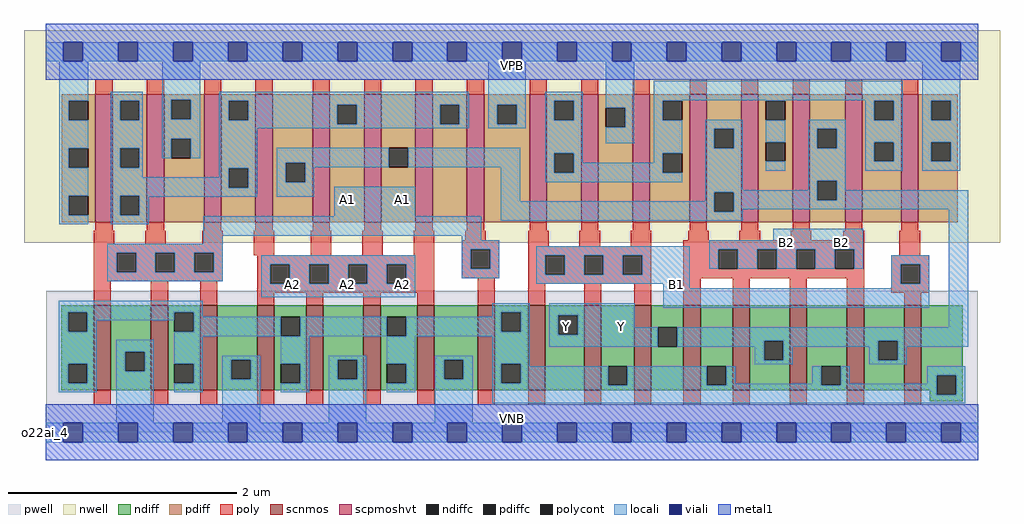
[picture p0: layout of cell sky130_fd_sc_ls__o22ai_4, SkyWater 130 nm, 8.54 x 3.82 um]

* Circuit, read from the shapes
.subckt sky130_fd_sc_ls__o22ai_4 A1 A2 B1 B2 VGND VNB VPB VPWR Y
XM1 VGND A1 n1 VNB sky130_fd_pr__nfet_01v8 w=0.74 l=0.15 m=4
XM2 n1 A2 VGND VNB sky130_fd_pr__nfet_01v8 w=0.74 l=0.15 m=4
XM3 Y B1 n1 VNB sky130_fd_pr__nfet_01v8 w=0.74 l=0.15 m=4
XM4 n1 B2 Y VNB sky130_fd_pr__nfet_01v8 w=0.74 l=0.15 m=4
XM5 n2 A1 VPWR VPB sky130_fd_pr__pfet_01v8_hvt w=1.12 l=0.15 m=4
XM6 Y A2 n2 VPB sky130_fd_pr__pfet_01v8_hvt w=1.12 l=0.15 m=4
XM7 n3 B1 VPWR VPB sky130_fd_pr__pfet_01v8_hvt w=1.12 l=0.15 m=4
XM8 Y B2 n3 VPB sky130_fd_pr__pfet_01v8_hvt w=1.12 l=0.15 m=4
.ends

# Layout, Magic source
magic
tech sky130A
magscale 1 2
<< nwell >>
rect -38 332 1670 704
<< pwell >>
rect 1 49 1631 248
rect 0 0 1632 49
<< scnmos >>
rect 84 74 114 222
rect 184 74 214 222
rect 270 74 300 222
rect 370 74 400 222
rect 456 74 486 222
rect 556 74 586 222
rect 650 74 680 222
rect 756 74 786 222
rect 844 74 874 222
rect 942 74 972 222
rect 1030 74 1060 222
rect 1116 74 1146 222
rect 1202 74 1232 222
rect 1302 74 1332 222
rect 1402 74 1432 222
rect 1502 74 1532 222
<< scpmoshvt >>
rect 87 368 117 592
rect 177 368 207 592
rect 277 368 307 592
rect 367 368 397 592
rect 467 368 497 592
rect 557 368 587 592
rect 647 368 677 592
rect 737 368 767 592
rect 847 368 877 592
rect 937 368 967 592
rect 1027 368 1057 592
rect 1127 368 1157 592
rect 1217 368 1247 592
rect 1307 368 1337 592
rect 1399 368 1429 592
rect 1497 368 1527 592
<< ndiff >>
rect 27 210 84 222
rect 27 176 39 210
rect 73 176 84 210
rect 27 120 84 176
rect 27 86 39 120
rect 73 86 84 120
rect 27 74 84 86
rect 114 141 184 222
rect 114 107 139 141
rect 173 107 184 141
rect 114 74 184 107
rect 214 210 270 222
rect 214 176 225 210
rect 259 176 270 210
rect 214 120 270 176
rect 214 86 225 120
rect 259 86 270 120
rect 214 74 270 86
rect 300 127 370 222
rect 300 93 325 127
rect 359 93 370 127
rect 300 74 370 93
rect 400 202 456 222
rect 400 168 411 202
rect 445 168 456 202
rect 400 120 456 168
rect 400 86 411 120
rect 445 86 456 120
rect 400 74 456 86
rect 486 127 556 222
rect 486 93 511 127
rect 545 93 556 127
rect 486 74 556 93
rect 586 202 650 222
rect 586 168 597 202
rect 631 168 650 202
rect 586 120 650 168
rect 586 86 597 120
rect 631 86 650 120
rect 586 74 650 86
rect 680 127 756 222
rect 680 93 697 127
rect 731 93 756 127
rect 680 74 756 93
rect 786 210 844 222
rect 786 176 797 210
rect 831 176 844 210
rect 786 120 844 176
rect 786 86 797 120
rect 831 86 844 120
rect 786 74 844 86
rect 874 205 942 222
rect 874 171 897 205
rect 931 171 942 205
rect 874 74 942 171
rect 972 116 1030 222
rect 972 82 984 116
rect 1018 82 1030 116
rect 972 74 1030 82
rect 1060 184 1116 222
rect 1060 150 1071 184
rect 1105 150 1116 184
rect 1060 74 1116 150
rect 1146 116 1202 222
rect 1146 82 1157 116
rect 1191 82 1202 116
rect 1146 74 1202 82
rect 1232 160 1302 222
rect 1232 126 1257 160
rect 1291 126 1302 160
rect 1232 74 1302 126
rect 1332 116 1402 222
rect 1332 82 1357 116
rect 1391 82 1402 116
rect 1332 74 1402 82
rect 1432 160 1502 222
rect 1432 126 1457 160
rect 1491 126 1502 160
rect 1432 74 1502 126
rect 1532 100 1605 222
rect 1532 74 1559 100
rect 1547 66 1559 74
rect 1593 66 1605 100
rect 1547 54 1605 66
<< pdiff >>
rect 28 580 87 592
rect 28 546 40 580
rect 74 546 87 580
rect 28 497 87 546
rect 28 463 40 497
rect 74 463 87 497
rect 28 414 87 463
rect 28 380 40 414
rect 74 380 87 414
rect 28 368 87 380
rect 117 580 177 592
rect 117 546 130 580
rect 164 546 177 580
rect 117 497 177 546
rect 117 463 130 497
rect 164 463 177 497
rect 117 414 177 463
rect 117 380 130 414
rect 164 380 177 414
rect 117 368 177 380
rect 207 582 277 592
rect 207 548 220 582
rect 254 548 277 582
rect 207 514 277 548
rect 207 480 220 514
rect 254 480 277 514
rect 207 368 277 480
rect 307 580 367 592
rect 307 546 320 580
rect 354 546 367 580
rect 307 462 367 546
rect 307 428 320 462
rect 354 428 367 462
rect 307 368 367 428
rect 397 472 467 592
rect 397 438 420 472
rect 454 438 467 472
rect 397 368 467 438
rect 497 573 557 592
rect 497 539 510 573
rect 544 539 557 573
rect 497 368 557 539
rect 587 498 647 592
rect 587 464 600 498
rect 634 464 647 498
rect 587 368 647 464
rect 677 573 737 592
rect 677 539 690 573
rect 724 539 737 573
rect 677 368 737 539
rect 767 573 847 592
rect 767 539 790 573
rect 824 539 847 573
rect 767 368 847 539
rect 877 580 937 592
rect 877 546 890 580
rect 924 546 937 580
rect 877 488 937 546
rect 877 454 890 488
rect 924 454 937 488
rect 877 368 937 454
rect 967 568 1027 592
rect 967 534 980 568
rect 1014 534 1027 568
rect 967 368 1027 534
rect 1057 580 1127 592
rect 1057 546 1080 580
rect 1114 546 1127 580
rect 1057 488 1127 546
rect 1057 454 1080 488
rect 1114 454 1127 488
rect 1057 368 1127 454
rect 1157 531 1217 592
rect 1157 497 1170 531
rect 1204 497 1217 531
rect 1157 420 1217 497
rect 1157 386 1170 420
rect 1204 386 1217 420
rect 1157 368 1217 386
rect 1247 580 1307 592
rect 1247 546 1260 580
rect 1294 546 1307 580
rect 1247 508 1307 546
rect 1247 474 1260 508
rect 1294 474 1307 508
rect 1247 368 1307 474
rect 1337 531 1399 592
rect 1337 497 1350 531
rect 1384 497 1399 531
rect 1337 440 1399 497
rect 1337 406 1350 440
rect 1384 406 1399 440
rect 1337 368 1399 406
rect 1429 580 1497 592
rect 1429 546 1450 580
rect 1484 546 1497 580
rect 1429 508 1497 546
rect 1429 474 1450 508
rect 1484 474 1497 508
rect 1429 368 1497 474
rect 1527 580 1596 592
rect 1527 546 1550 580
rect 1584 546 1596 580
rect 1527 508 1596 546
rect 1527 474 1550 508
rect 1584 474 1596 508
rect 1527 368 1596 474
<< ndiffc >>
rect 39 176 73 210
rect 39 86 73 120
rect 139 107 173 141
rect 225 176 259 210
rect 225 86 259 120
rect 325 93 359 127
rect 411 168 445 202
rect 411 86 445 120
rect 511 93 545 127
rect 597 168 631 202
rect 597 86 631 120
rect 697 93 731 127
rect 797 176 831 210
rect 797 86 831 120
rect 897 171 931 205
rect 984 82 1018 116
rect 1071 150 1105 184
rect 1157 82 1191 116
rect 1257 126 1291 160
rect 1357 82 1391 116
rect 1457 126 1491 160
rect 1559 66 1593 100
<< pdiffc >>
rect 40 546 74 580
rect 40 463 74 497
rect 40 380 74 414
rect 130 546 164 580
rect 130 463 164 497
rect 130 380 164 414
rect 220 548 254 582
rect 220 480 254 514
rect 320 546 354 580
rect 320 428 354 462
rect 420 438 454 472
rect 510 539 544 573
rect 600 464 634 498
rect 690 539 724 573
rect 790 539 824 573
rect 890 546 924 580
rect 890 454 924 488
rect 980 534 1014 568
rect 1080 546 1114 580
rect 1080 454 1114 488
rect 1170 497 1204 531
rect 1170 386 1204 420
rect 1260 546 1294 580
rect 1260 474 1294 508
rect 1350 497 1384 531
rect 1350 406 1384 440
rect 1450 546 1484 580
rect 1450 474 1484 508
rect 1550 546 1584 580
rect 1550 474 1584 508
<< poly >>
rect 87 592 117 618
rect 177 592 207 618
rect 277 592 307 618
rect 367 592 397 618
rect 467 592 497 618
rect 557 592 587 618
rect 647 592 677 618
rect 737 592 767 618
rect 847 592 877 618
rect 937 592 967 618
rect 1027 592 1057 618
rect 1127 592 1157 618
rect 1217 592 1247 618
rect 1307 592 1337 618
rect 1399 592 1429 618
rect 1497 592 1527 618
rect 87 353 117 368
rect 177 353 207 368
rect 277 353 307 368
rect 367 353 397 368
rect 467 353 497 368
rect 557 353 587 368
rect 647 353 677 368
rect 737 353 767 368
rect 847 353 877 368
rect 937 353 967 368
rect 1027 353 1057 368
rect 1127 353 1157 368
rect 1217 353 1247 368
rect 1307 353 1337 368
rect 1399 353 1429 368
rect 1497 353 1527 368
rect 84 330 120 353
rect 174 330 210 353
rect 274 330 310 353
rect 84 314 310 330
rect 84 280 124 314
rect 158 280 192 314
rect 226 280 260 314
rect 294 280 310 314
rect 364 310 400 353
rect 464 310 500 353
rect 554 310 590 353
rect 644 310 680 353
rect 734 336 770 353
rect 84 264 310 280
rect 370 294 680 310
rect 84 222 114 264
rect 184 222 214 264
rect 270 222 300 264
rect 370 260 393 294
rect 427 260 461 294
rect 495 260 529 294
rect 563 260 597 294
rect 631 260 680 294
rect 728 320 794 336
rect 728 286 744 320
rect 778 286 794 320
rect 728 270 794 286
rect 844 326 880 353
rect 934 326 970 353
rect 1024 326 1060 353
rect 1124 336 1160 353
rect 1214 336 1250 353
rect 1304 336 1340 353
rect 1396 336 1432 353
rect 844 310 1060 326
rect 844 276 874 310
rect 908 276 942 310
rect 976 276 1010 310
rect 1044 276 1060 310
rect 370 244 680 260
rect 370 222 400 244
rect 456 222 486 244
rect 556 222 586 244
rect 650 222 680 244
rect 756 222 786 270
rect 844 260 1060 276
rect 844 222 874 260
rect 942 222 972 260
rect 1030 222 1060 260
rect 1116 320 1432 336
rect 1116 286 1177 320
rect 1211 286 1245 320
rect 1279 286 1313 320
rect 1347 286 1381 320
rect 1415 286 1432 320
rect 1494 310 1530 353
rect 1116 270 1432 286
rect 1116 222 1146 270
rect 1202 222 1232 270
rect 1302 222 1332 270
rect 1402 222 1432 270
rect 1480 294 1546 310
rect 1480 260 1496 294
rect 1530 260 1546 294
rect 1480 244 1546 260
rect 1502 222 1532 244
rect 84 48 114 74
rect 184 48 214 74
rect 270 48 300 74
rect 370 48 400 74
rect 456 48 486 74
rect 556 48 586 74
rect 650 48 680 74
rect 756 48 786 74
rect 844 48 874 74
rect 942 48 972 74
rect 1030 48 1060 74
rect 1116 48 1146 74
rect 1202 48 1232 74
rect 1302 48 1332 74
rect 1402 48 1432 74
rect 1502 48 1532 74
<< polycont >>
rect 124 280 158 314
rect 192 280 226 314
rect 260 280 294 314
rect 393 260 427 294
rect 461 260 495 294
rect 529 260 563 294
rect 597 260 631 294
rect 744 286 778 320
rect 874 276 908 310
rect 942 276 976 310
rect 1010 276 1044 310
rect 1177 286 1211 320
rect 1245 286 1279 320
rect 1313 286 1347 320
rect 1381 286 1415 320
rect 1496 260 1530 294
<< locali >>
rect 0 649 31 683
rect 65 649 127 683
rect 161 649 223 683
rect 257 649 319 683
rect 353 649 415 683
rect 449 649 511 683
rect 545 649 607 683
rect 641 649 703 683
rect 737 649 799 683
rect 833 649 895 683
rect 929 649 991 683
rect 1025 649 1087 683
rect 1121 649 1183 683
rect 1217 649 1279 683
rect 1313 649 1375 683
rect 1409 649 1471 683
rect 1505 649 1567 683
rect 1601 649 1632 683
rect 24 580 74 649
rect 24 546 40 580
rect 24 497 74 546
rect 24 463 40 497
rect 24 414 74 463
rect 24 380 40 414
rect 24 364 74 380
rect 114 580 170 596
rect 114 546 130 580
rect 164 546 170 580
rect 114 497 170 546
rect 114 463 130 497
rect 164 463 170 497
rect 204 582 270 649
rect 204 548 220 582
rect 254 548 270 582
rect 204 514 270 548
rect 204 480 220 514
rect 254 480 270 514
rect 304 580 740 596
rect 304 546 320 580
rect 354 573 740 580
rect 354 546 510 573
rect 304 539 510 546
rect 544 539 690 573
rect 724 539 740 573
rect 304 532 740 539
rect 774 573 840 649
rect 774 539 790 573
rect 824 539 840 573
rect 774 532 840 539
rect 874 580 940 596
rect 874 546 890 580
rect 924 546 940 580
rect 114 446 170 463
rect 304 462 370 532
rect 304 446 320 462
rect 114 428 320 446
rect 354 428 370 462
rect 114 414 370 428
rect 114 380 130 414
rect 164 412 370 414
rect 404 472 600 498
rect 404 438 420 472
rect 454 464 600 472
rect 634 464 830 498
rect 454 438 470 464
rect 404 412 470 438
rect 164 380 180 412
rect 114 364 180 380
rect 505 378 647 430
rect 796 404 830 464
rect 874 488 940 546
rect 980 568 1030 649
rect 1014 534 1030 568
rect 980 506 1030 534
rect 1064 581 1500 615
rect 1064 580 1114 581
rect 1064 546 1080 580
rect 1260 580 1294 581
rect 874 454 890 488
rect 924 472 940 488
rect 1064 488 1114 546
rect 1064 472 1080 488
rect 924 454 1080 472
rect 874 438 1114 454
rect 1154 531 1220 547
rect 1154 497 1170 531
rect 1204 497 1220 531
rect 1154 424 1220 497
rect 1434 580 1500 581
rect 1260 508 1294 546
rect 1260 458 1294 474
rect 1334 531 1400 547
rect 1334 497 1350 531
rect 1384 497 1400 531
rect 1334 440 1400 497
rect 1434 546 1450 580
rect 1484 546 1500 580
rect 1434 508 1500 546
rect 1434 474 1450 508
rect 1484 474 1500 508
rect 1434 458 1500 474
rect 1534 580 1600 649
rect 1534 546 1550 580
rect 1584 546 1600 580
rect 1534 508 1600 546
rect 1534 474 1550 508
rect 1584 474 1600 508
rect 1534 458 1600 474
rect 1334 424 1350 440
rect 1154 420 1350 424
rect 1154 404 1170 420
rect 796 386 1170 404
rect 1204 406 1350 420
rect 1384 424 1400 440
rect 1384 406 1614 424
rect 1204 390 1614 406
rect 1204 386 1220 390
rect 276 344 762 378
rect 796 370 1220 386
rect 276 330 310 344
rect 108 314 310 330
rect 108 280 124 314
rect 158 280 192 314
rect 226 280 260 314
rect 294 280 310 314
rect 728 336 762 344
rect 1273 336 1431 356
rect 728 320 794 336
rect 108 264 310 280
rect 377 294 647 310
rect 377 260 393 294
rect 427 260 461 294
rect 495 260 529 294
rect 563 260 597 294
rect 631 260 647 294
rect 728 286 744 320
rect 778 286 794 320
rect 728 270 794 286
rect 858 310 1127 326
rect 858 276 874 310
rect 908 276 942 310
rect 976 276 1010 310
rect 1044 276 1127 310
rect 1161 320 1431 336
rect 1161 286 1177 320
rect 1211 286 1245 320
rect 1279 286 1313 320
rect 1347 286 1381 320
rect 1415 286 1431 320
rect 1480 294 1546 310
rect 858 260 1127 276
rect 377 236 647 260
rect 1081 252 1127 260
rect 1480 260 1496 294
rect 1530 260 1546 294
rect 1480 252 1546 260
rect 23 210 275 230
rect 23 176 39 210
rect 73 196 225 210
rect 73 176 89 196
rect 23 120 89 176
rect 259 202 275 210
rect 781 210 847 226
rect 781 202 797 210
rect 259 176 411 202
rect 225 168 411 176
rect 445 168 597 202
rect 631 176 797 202
rect 831 176 847 210
rect 631 168 847 176
rect 23 86 39 120
rect 73 86 89 120
rect 23 70 89 86
rect 123 141 189 162
rect 123 107 139 141
rect 173 107 189 141
rect 123 17 189 107
rect 225 120 275 168
rect 259 86 275 120
rect 225 70 275 86
rect 309 127 375 134
rect 309 93 325 127
rect 359 93 375 127
rect 309 17 375 93
rect 411 120 461 168
rect 445 86 461 120
rect 411 70 461 86
rect 495 127 561 134
rect 495 93 511 127
rect 545 93 561 127
rect 495 17 561 93
rect 597 120 647 168
rect 631 86 647 120
rect 597 70 647 86
rect 681 127 747 134
rect 681 93 697 127
rect 731 93 747 127
rect 681 17 747 93
rect 781 120 847 168
rect 881 205 1031 226
rect 1081 218 1546 252
rect 881 171 897 205
rect 931 184 1031 205
rect 1580 184 1614 390
rect 931 171 1071 184
rect 881 150 1071 171
rect 1105 160 1614 184
rect 1105 150 1257 160
rect 781 86 797 120
rect 831 116 847 120
rect 1241 126 1257 150
rect 1291 150 1457 160
rect 1291 126 1307 150
rect 1241 119 1307 126
rect 1441 126 1457 150
rect 1491 150 1614 160
rect 1491 126 1507 150
rect 1441 119 1507 126
rect 831 86 984 116
rect 781 82 984 86
rect 1018 82 1157 116
rect 1191 85 1207 116
rect 1341 85 1357 116
rect 1191 82 1357 85
rect 1391 85 1407 116
rect 1543 100 1609 116
rect 1543 85 1559 100
rect 1391 82 1559 85
rect 781 66 1559 82
rect 1593 66 1609 100
rect 781 51 1609 66
rect 0 -17 31 17
rect 65 -17 127 17
rect 161 -17 223 17
rect 257 -17 319 17
rect 353 -17 415 17
rect 449 -17 511 17
rect 545 -17 607 17
rect 641 -17 703 17
rect 737 -17 799 17
rect 833 -17 895 17
rect 929 -17 991 17
rect 1025 -17 1087 17
rect 1121 -17 1183 17
rect 1217 -17 1279 17
rect 1313 -17 1375 17
rect 1409 -17 1471 17
rect 1505 -17 1567 17
rect 1601 -17 1632 17
<< viali >>
rect 31 649 65 683
rect 127 649 161 683
rect 223 649 257 683
rect 319 649 353 683
rect 415 649 449 683
rect 511 649 545 683
rect 607 649 641 683
rect 703 649 737 683
rect 799 649 833 683
rect 895 649 929 683
rect 991 649 1025 683
rect 1087 649 1121 683
rect 1183 649 1217 683
rect 1279 649 1313 683
rect 1375 649 1409 683
rect 1471 649 1505 683
rect 1567 649 1601 683
rect 31 -17 65 17
rect 127 -17 161 17
rect 223 -17 257 17
rect 319 -17 353 17
rect 415 -17 449 17
rect 511 -17 545 17
rect 607 -17 641 17
rect 703 -17 737 17
rect 799 -17 833 17
rect 895 -17 929 17
rect 991 -17 1025 17
rect 1087 -17 1121 17
rect 1183 -17 1217 17
rect 1279 -17 1313 17
rect 1375 -17 1409 17
rect 1471 -17 1505 17
rect 1567 -17 1601 17
<< metal1 >>
rect 0 683 1632 715
rect 0 649 31 683
rect 65 649 127 683
rect 161 649 223 683
rect 257 649 319 683
rect 353 649 415 683
rect 449 649 511 683
rect 545 649 607 683
rect 641 649 703 683
rect 737 649 799 683
rect 833 649 895 683
rect 929 649 991 683
rect 1025 649 1087 683
rect 1121 649 1183 683
rect 1217 649 1279 683
rect 1313 649 1375 683
rect 1409 649 1471 683
rect 1505 649 1567 683
rect 1601 649 1632 683
rect 0 617 1632 649
rect 0 17 1632 49
rect 0 -17 31 17
rect 65 -17 127 17
rect 161 -17 223 17
rect 257 -17 319 17
rect 353 -17 415 17
rect 449 -17 511 17
rect 545 -17 607 17
rect 641 -17 703 17
rect 737 -17 799 17
rect 833 -17 895 17
rect 929 -17 991 17
rect 1025 -17 1087 17
rect 1121 -17 1183 17
rect 1217 -17 1279 17
rect 1313 -17 1375 17
rect 1409 -17 1471 17
rect 1505 -17 1567 17
rect 1601 -17 1632 17
rect 0 -49 1632 -17
<< labels >>
rlabel comment s 0 0 0 0 4 o22ai_4
flabel pwell s 0 0 1632 49 0 FreeSans 200 0 0 0 VNB
port 6 nsew ground bidirectional
flabel nwell s 0 617 1632 666 0 FreeSans 200 0 0 0 VPB
port 7 nsew power bidirectional
flabel metal1 s 0 617 1632 666 0 FreeSans 340 0 0 0 VPWR
port 8 nsew power bidirectional abutment
flabel metal1 s 0 0 1632 49 0 FreeSans 340 0 0 0 VGND
port 5 nsew ground bidirectional abutment
flabel locali s 1087 242 1121 276 0 FreeSans 340 0 0 0 B1
port 3 nsew signal input
flabel locali s 1279 316 1313 350 0 FreeSans 340 0 0 0 B2
port 4 nsew signal input
flabel locali s 1375 316 1409 350 0 FreeSans 340 0 0 0 B2
port 4 nsew signal input
flabel locali s 895 168 929 202 0 FreeSans 340 0 0 0 Y
port 9 nsew signal output
flabel locali s 991 168 1025 202 0 FreeSans 340 0 0 0 Y
port 9 nsew signal output
flabel locali s 415 242 449 276 0 FreeSans 340 0 0 0 A2
port 2 nsew signal input
flabel locali s 511 242 545 276 0 FreeSans 340 0 0 0 A2
port 2 nsew signal input
flabel locali s 607 242 641 276 0 FreeSans 340 0 0 0 A2
port 2 nsew signal input
flabel locali s 511 390 545 424 0 FreeSans 340 0 0 0 A1
port 1 nsew signal input
flabel locali s 607 390 641 424 0 FreeSans 340 0 0 0 A1
port 1 nsew signal input
<< properties >>
string LEFsite unit
string LEFclass CORE
string FIXED_BBOX 0 0 1632 666
string GDS_FILE $PDKPATH/libs.ref/sky130_fd_sc_ls/gds/sky130_fd_sc_ls.gds
string LEFsymmetry X Y
string GDS_END 566674
string GDS_START 553976
<< end >>
